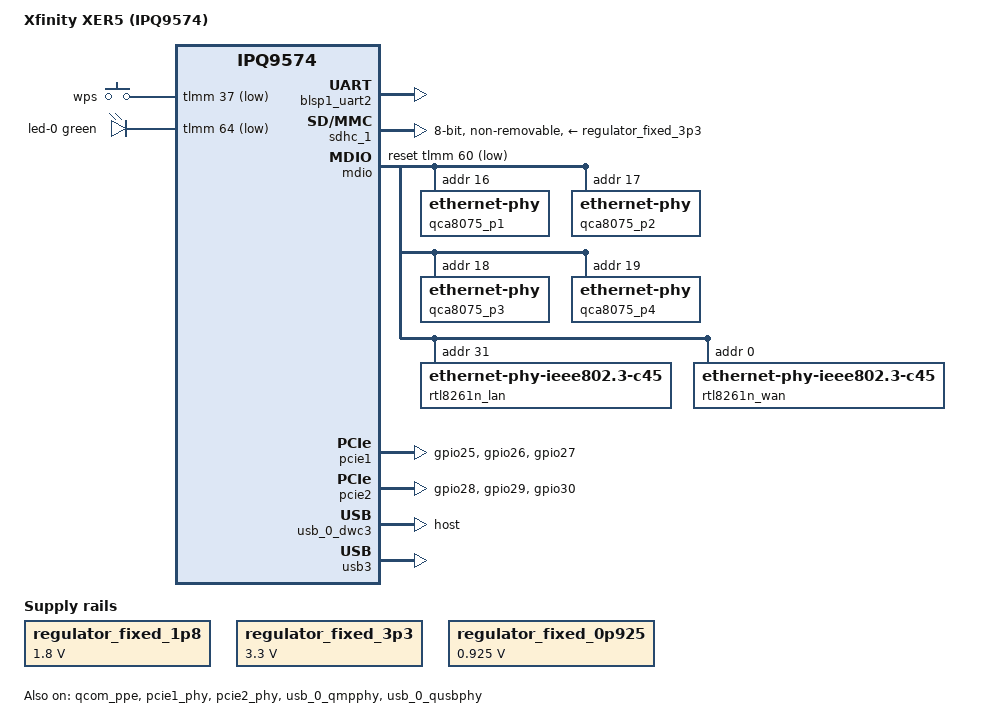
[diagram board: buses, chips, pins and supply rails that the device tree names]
// SPDX-License-Identifier: (GPL-2.0+ OR BSD-3-Clause)
/*
 * Xfinity XER5 (Wi-Fi 6E AP, IPQ9574, RTL8261N 5G + QCA8075 GbE)
 *
 * Hardware reverse-engineered from original firmware dump at
 *   F:\Xgpro_T76\UserData\EMMC_Data\route\xer5-5G\
 *
 * Reference platforms: 8devices Kiwi-DVK (mainline qualcommbe target),
 *                      Qualcomm RDP433 / AP-AL02-Cx series.
 *
 * Adapted for immortalwrt master (kernel 6.18):
 *  - RTL8261N PHY is supported by the mainline realtek driver
 *    (generic pending-6.18 742/743 + backport-6.18 800-03..06);
 *    firmware: rtl826x-firmware (rtl8261n.bin)
 *  - eMMC-only device, no NAND/UBI anywhere
 */

/dts-v1/;

#include <dt-bindings/gpio/gpio.h>
#include <dt-bindings/input/input.h>
#include <dt-bindings/leds/common.h>
#include "ipq9574.dtsi"

/ {
	model = "Xfinity XER5 (IPQ9574)";
	compatible = "xfinity,xer5", "qcom,ipq9574-ap-al02-c7", "qcom,ipq9574-ap-al02-c1", "qcom,ipq9574";

	aliases {
		serial0 = &blsp1_uart2;
		ethernet0 = &xgmac1;   /* LAN1 : port1  QCA8075     MDIO 0x10 1G   */
		ethernet1 = &xgmac2;   /* LAN2 : port2  QCA8075     MDIO 0x11 1G   */
		ethernet2 = &xgmac3;   /* LAN3 : port3  QCA8075     MDIO 0x12 1G   */
		ethernet3 = &xgmac4;   /* LAN4 : port4  QCA8075     MDIO 0x13 NC   */
		ethernet4 = &xgmac5;   /* LAN5 : port5  RTL8261N    MDIO 0x1f 5G   */
		ethernet5 = &xgmac6;   /* WAN  : port6  RTL8261N    MDIO 0x00 5G   */
	};

	chosen {
		stdout-path = "serial0:115200n8";
		bootargs-append = " root=/dev/mmcblk0p43 rootwait";
		/* mmcblk0p43 = "rootfs" per XER5 GPT (LBA 3141632, 384 MB) */
	};

	regulator_fixed_1p8: s1800 {
		compatible = "regulator-fixed";
		regulator-min-microvolt = <1800000>;
		regulator-max-microvolt = <1800000>;
		regulator-boot-on;
		regulator-always-on;
		regulator-name = "fixed_1p8";
	};

	regulator_fixed_3p3: s3300 {
		compatible = "regulator-fixed";
		regulator-min-microvolt = <3300000>;
		regulator-max-microvolt = <3300000>;
		regulator-boot-on;
		regulator-always-on;
		regulator-name = "fixed_3p3";
	};

	regulator_fixed_0p925: s0925 {
		compatible = "regulator-fixed";
		regulator-min-microvolt = <925000>;
		regulator-max-microvolt = <925000>;
		regulator-boot-on;
		regulator-always-on;
		regulator-name = "fixed_0p925";
	};

	gpio-keys {
		compatible = "gpio-keys";
		pinctrl-0 = <&gpio_keys_default>;
		pinctrl-names = "default";

		button-wps {
			label = "wps";
			linux,code = <KEY_WPS_BUTTON>;
			gpios = <&tlmm 37 GPIO_ACTIVE_LOW>;
			debounce-interval = <60>;
		};
	};

	leds {
		compatible = "gpio-leds";
		pinctrl-0 = <&gpio_leds_default>;
		pinctrl-names = "default";

		led-0 {
			color = <LED_COLOR_ID_GREEN>;
			function = LED_FUNCTION_WLAN;
			gpios = <&tlmm 64 GPIO_ACTIVE_LOW>;
			linux,default-trigger = "phy0tx";
			default-state = "off";
		};
	};
};

&blsp1_uart2 {
	pinctrl-0 = <&uart2_pins>;
	pinctrl-names = "default";
	status = "okay";
};

/* CPU supplies: ipq9574.dtsi has no cpu0-3 labels, skip */

&rpm_requests {
	regulators {
		compatible = "qcom,rpm-mp5496-regulators";

		mp5496_s1: s1 {
			regulator-min-microvolt = <725000>;
			regulator-max-microvolt = <1075000>;
		};

		/* ipq9574.dtsi references ipq9574_s1 for cpu-supply */
		ipq9574_s1: pm8150-s1 {
			regulator-min-microvolt = <725000>;
			regulator-max-microvolt = <1075000>;
		};

		mp5496_l2: l2 {
			regulator-min-microvolt = <1800000>;
			regulator-max-microvolt = <1800000>;
			regulator-always-on;
			regulator-boot-on;
		};

		mp5496_l5: l5 {
			regulator-min-microvolt = <1800000>;
			regulator-max-microvolt = <1800000>;
			regulator-always-on;
			regulator-boot-on;
		};
	};
};

/*
 * XER5 uses eMMC (Toshiba THGBMUG6C1LBAIL 4GB, HS400 enhanced strobe).
 * 44-partition GPT layout from original Xfinity firmware is preserved;
 * OpenWrt sysupgrade/T76 flashing targets the primary (A) slot:
 *   0:HLOS    (LBA 131072 / 0x20000,  64 MB)   -> kernel FIT
 *   rootfs    (LBA 3141632 / 0x2FE000, 384 MB) -> squashfs
 * The secondary (_1) slot stays empty as T76 brick-recovery fallback.
 */
&sdhc_1 {
	vmmc-supply = <&regulator_fixed_3p3>;
	vqmmc-supply = <&regulator_fixed_1p8>;
	bus-width = <8>;
	max-frequency = <384000000>;
	mmc-ddr-1_8v;
	mmc-hs200-1_8v;
	mmc-hs400-1_8v;
	mmc-hs400-enhanced-strobe;
	non-removable;
	status = "okay";
};

&sleep_clk { clock-frequency = <32000>; };

/*
 * Ethernet:
 *   6 PPE ports (1 WAN 5G + 1 LAN 5G + 3 LAN GbE + 1 NC)
 *   - QCA8075 quad GbE PHY (MDIO 0x10..0x13, only 0x10/0x11/0x12 wired
 *     to RJ45; addr 0x13 left floating per teardown).
 *   - 2x Realtek RTL8261N 5G PHY @ MDIO 0x1F (LAN1) and 0x00 (WAN).
 *
 * PPE port mapping (matches RDP433 reference + stock switch_lan/wan_bmp):
 *   switch_lan_bmp = 0x3e (bits 1-5), switch_wan_bmp = 0x40 (bit 6)
 *   port1 -> xgmac1 -> QCA8075 phy@0x10 -> RJ45 "LAN1"  1G
 *   port2 -> xgmac2 -> QCA8075 phy@0x11 -> RJ45 "LAN2"  1G
 *   port3 -> xgmac3 -> QCA8075 phy@0x12 -> RJ45 "LAN3"  1G
 *   port4 -> xgmac4 -> QCA8075 phy@0x13 -> (NC, disabled)
 *   port5 -> xgmac5 -> RTL8261N phy@0x1f -> RJ45 "LAN4" 5G
 *   port6 -> xgmac6 -> RTL8261N phy@0x00 -> RJ45 "WAN"  5G
 */
&qcom_ppe {
	status = "okay";

	switch_lan_bmp = <0x3e>;  /* bits 1-5 = LAN */
	switch_wan_bmp = <0x40>;  /* bit 6 = WAN */

	ethernet-ports {
		#address-cells = <1>;
		#size-cells = <0>;

		xgmac1: port@1 {
			reg = <1>;
			phy-mode = "qsgmii";
			label = "lan1";
			phy-handle = <&qca8075_p1>;
			pcs-handle = <&pcs0_ch0>;
			local-mac-address = [00 00 00 00 00 00];
			clocks = <&nsscc NSS_CC_PORT1_MAC_CLK>,
				 <&nsscc NSS_CC_PORT1_RX_CLK>,
				 <&nsscc NSS_CC_PORT1_TX_CLK>;
			clock-names = "mac", "rx", "tx";
			resets = <&nsscc PORT1_MAC_ARES>,
				 <&nsscc PORT1_RX_ARES>,
				 <&nsscc PORT1_TX_ARES>;
			reset-names = "mac", "rx", "tx";
		};

		xgmac2: port@2 {
			reg = <2>;
			phy-mode = "qsgmii";
			label = "lan2";
			phy-handle = <&qca8075_p2>;
			pcs-handle = <&pcs0_ch1>;
			local-mac-address = [00 00 00 00 00 00];
			clocks = <&nsscc NSS_CC_PORT2_MAC_CLK>,
				 <&nsscc NSS_CC_PORT2_RX_CLK>,
				 <&nsscc NSS_CC_PORT2_TX_CLK>;
			clock-names = "mac", "rx", "tx";
			resets = <&nsscc PORT2_MAC_ARES>,
				 <&nsscc PORT2_RX_ARES>,
				 <&nsscc PORT2_TX_ARES>;
			reset-names = "mac", "rx", "tx";
		};

		xgmac3: port@3 {
			reg = <3>;
			phy-mode = "qsgmii";
			label = "lan3";
			phy-handle = <&qca8075_p3>;
			pcs-handle = <&pcs0_ch2>;
			local-mac-address = [00 00 00 00 00 00];
			clocks = <&nsscc NSS_CC_PORT3_MAC_CLK>,
				 <&nsscc NSS_CC_PORT3_RX_CLK>,
				 <&nsscc NSS_CC_PORT3_TX_CLK>;
			clock-names = "mac", "rx", "tx";
			resets = <&nsscc PORT3_MAC_ARES>,
				 <&nsscc PORT3_RX_ARES>,
				 <&nsscc PORT3_TX_ARES>;
			reset-names = "mac", "rx", "tx";
		};

		xgmac4: port@4 {
			reg = <4>;
			phy-mode = "qsgmii";
			label = "lan4";
			phy-handle = <&qca8075_p4>;
			pcs-handle = <&pcs0_ch3>;
			local-mac-address = [00 00 00 00 00 00];
			status = "disabled";  /* phy@0x13 NC, no RJ45 */
			clocks = <&nsscc NSS_CC_PORT4_MAC_CLK>,
				 <&nsscc NSS_CC_PORT4_RX_CLK>,
				 <&nsscc NSS_CC_PORT4_TX_CLK>;
			clock-names = "mac", "rx", "tx";
			resets = <&nsscc PORT4_MAC_ARES>,
				 <&nsscc PORT4_RX_ARES>,
				 <&nsscc PORT4_TX_ARES>;
			reset-names = "mac", "rx", "tx";
		};

		xgmac5: port@5 {
			reg = <5>;
			phy-mode = "usxgmii";
			label = "lan5";
			phy-handle = <&rtl8261n_lan>;
			pcs-handle = <&pcs1_ch0>;
			local-mac-address = [00 00 00 00 00 00];
			clocks = <&nsscc NSS_CC_PORT5_MAC_CLK>,
				 <&nsscc NSS_CC_PORT5_RX_CLK>,
				 <&nsscc NSS_CC_PORT5_TX_CLK>;
			clock-names = "mac", "rx", "tx";
			resets = <&nsscc PORT5_MAC_ARES>,
				 <&nsscc PORT5_RX_ARES>,
				 <&nsscc PORT5_TX_ARES>;
			reset-names = "mac", "rx", "tx";
		};

		xgmac6: port@6 {
			reg = <6>;
			phy-mode = "usxgmii";
			label = "wan";
			phy-handle = <&rtl8261n_wan>;
			pcs-handle = <&pcs2_ch0>;
			local-mac-address = [00 00 00 00 00 00];
			clocks = <&nsscc NSS_CC_PORT6_MAC_CLK>,
				 <&nsscc NSS_CC_PORT6_RX_CLK>,
				 <&nsscc NSS_CC_PORT6_TX_CLK>;
			clock-names = "mac", "rx", "tx";
			resets = <&nsscc PORT6_MAC_ARES>,
				 <&nsscc PORT6_RX_ARES>,
				 <&nsscc PORT6_TX_ARES>;
			reset-names = "mac", "rx", "tx";
		};
	};
};

&mdio {
	status = "okay";
	pinctrl-0 = <&mdio_pins>;
	pinctrl-names = "default";
	reset-gpios = <&tlmm 60 GPIO_ACTIVE_LOW>;	/* PHY hard reset, was 0x3c in stock */

	/* QCA8075 quad-port GbE PHY:
	 * addresses 0x10..0x13 (XER5 stock DTS), but only 0x10/0x11/0x12
	 * are wired out to RJ45 jacks. 0x13 left disabled. */
	qca8075_p1: ethernet-phy@10 {
		reg = <0x10>;
	};
	qca8075_p2: ethernet-phy@11 {
		reg = <0x11>;
	};
	qca8075_p3: ethernet-phy@12 {
		reg = <0x12>;
	};

	qca8075_p4: ethernet-phy@13 {
		reg = <0x13>;
	};

	/* Realtek RTL8261N 5G PHY (LAN1 5G):
	 * driver: mainline realtek PHY driver (kernel 6.18)
	 * PHY ID 0x001CCAF3, c45 clause 45
	 * NOTE: actual hardware uses MDIO addr 0x1F, NOT 0x08 from the AL02-C1 ref DTS */
	rtl8261n_lan: ethernet-phy@1f {
		compatible = "ethernet-phy-ieee802.3-c45";
		reg = <0x1f>;
		reset-assert-us = <40>;
		reset-deassert-us = <150000>;
	};

	/* Realtek RTL8261N 5G PHY (WAN 5G) */
	rtl8261n_wan: ethernet-phy@0 {
		compatible = "ethernet-phy-ieee802.3-c45";
		reg = <0x00>;
		reset-assert-us = <40>;
		reset-deassert-us = <150000>;
	};
};

/* QCN9224 #1 -- 5GHz radio */
&pcie1 {
	pinctrl-0 = <&pcie1_default>;
	pinctrl-names = "default";
	perst-gpios = <&tlmm 26 GPIO_ACTIVE_LOW>;
	wake-gpios = <&tlmm 27 GPIO_ACTIVE_LOW>;
	status = "okay";
};
&pcie1_phy { status = "okay"; };

/* QCN9224 #2 -- 6GHz radio (Wi-Fi 6E) */
&pcie2 {
	pinctrl-0 = <&pcie2_default>;
	pinctrl-names = "default";
	perst-gpios = <&tlmm 29 GPIO_ACTIVE_LOW>;
	wake-gpios = <&tlmm 30 GPIO_ACTIVE_LOW>;
	status = "okay";
};
&pcie2_phy { status = "okay"; };

/* USB 3.0 host (single port) */
&usb_0_dwc3 { dr_mode = "host"; };
&usb_0_qmpphy {
	vdda-pll-supply = <&mp5496_l5>;
	vdda-phy-supply = <&regulator_fixed_0p925>;
	status = "okay";
};
&usb_0_qusbphy {
	vdd-supply = <&regulator_fixed_0p925>;
	vdda-pll-supply = <&mp5496_l5>;
	vdda-phy-dpdm-supply = <&regulator_fixed_3p3>;
	status = "okay";
};
&usb3 { status = "okay"; };

&tlmm {
	pcie1_default: pcie1-default-state {
		clkreq-n-pins {
			pins = "gpio25";
			function = "pcie1_clk";
			drive-strength = <6>;
			bias-pull-up;
		};
		perst-n-pins {
			pins = "gpio26";
			function = "gpio";
			drive-strength = <8>;
			bias-pull-down;
			output-low;
		};
		wake-n-pins {
			pins = "gpio27";
			function = "pcie1_wake";
			drive-strength = <6>;
			bias-pull-up;
		};
	};

	pcie2_default: pcie2-default-state {
		clkreq-n-pins {
			pins = "gpio28";
			function = "pcie2_clk";
			drive-strength = <6>;
			bias-pull-up;
		};
		perst-n-pins {
			pins = "gpio29";
			function = "gpio";
			drive-strength = <8>;
			bias-pull-down;
			output-low;
		};
		wake-n-pins {
			pins = "gpio30";
			function = "pcie2_wake";
			drive-strength = <6>;
			bias-pull-up;
		};
	};

	gpio_keys_default: gpio-keys-default-state {
		pins = "gpio37";
		function = "gpio";
		drive-strength = <8>;
		bias-pull-up;
	};

	gpio_leds_default: gpio-leds-default-state {
		pins = "gpio64";
		function = "gpio";
		drive-strength = <8>;
		bias-pull-up;
	};
};

&ref_48mhz_clk {
	clock-div = <1>;
	clock-mult = <1>;
};

&xo_board_clk {
	clock-div = <2>;
	clock-mult = <1>;
};

&xo_clk {
	clock-frequency = <48000000>;
};
